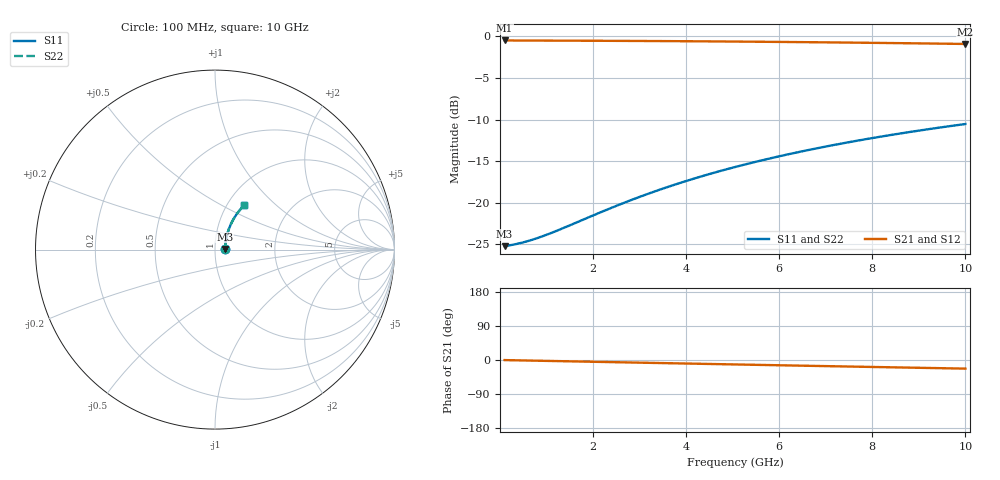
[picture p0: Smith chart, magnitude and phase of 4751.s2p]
# Hz S RI R 50.00
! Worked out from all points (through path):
!   100 points, 100 MHz to 10 GHz, reference 50 ohm
!   highest |S21| = -0.49 dB at 100 MHz (marker M1); lowest = -0.9 dB at 10 GHz (marker M2)
!   group delay of S21, straight-line fit = 6.33 ps
!   lowest |S11| = -25.2 dB at 100 MHz (marker M3), VSWR 1.12, Z = 55.8 + j0.322 ohm
!   |S11| at or under -10 dB: start of sweep to end of sweep
!   |S22| runs from -25.2 to -10.5 dB; largest |S21 - S12| = 0
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1e8  0.0548 0.00287  0.9452 -0.00387  0.9452 -0.00387  0.0548 0.00287
3e8  0.0555 0.00861  0.9445 -0.0116  0.9445 -0.0116  0.0555 0.00861
5e8  0.0561 0.0143  0.9439 -0.0193  0.9439 -0.0193  0.0561 0.0143
8e8  0.0569 0.0229  0.943 -0.0308  0.943 -0.0308  0.0569 0.0229
1e9  0.0575 0.0286  0.9424 -0.0385  0.9424 -0.0385  0.0575 0.0286
1.2e9  0.0582 0.0343  0.9417 -0.0462  0.9417 -0.0462  0.0582 0.0343
1.8e9  0.0608 0.0512  0.939 -0.0691  0.939 -0.0691  0.0608 0.0512
2.2e9  0.0629 0.0624  0.9369 -0.0843  0.9369 -0.0843  0.0629 0.0624
2.6e9  0.0653 0.0735  0.9343 -0.0994  0.9343 -0.0994  0.0653 0.0735
3e9  0.068 0.0845  0.9315 -0.1144  0.9315 -0.1144  0.068 0.0845
3.4e9  0.0711 0.0954  0.9282 -0.1292  0.9282 -0.1292  0.0711 0.0954
3.8e9  0.0746 0.1062  0.9247 -0.144  0.9247 -0.144  0.0746 0.1062
4.2e9  0.0783 0.1168  0.9208 -0.1586  0.9208 -0.1586  0.0783 0.1168
4.6e9  0.0824 0.1273  0.9165 -0.173  0.9165 -0.173  0.0824 0.1273
5.1e9  0.0879 0.1401  0.9107 -0.1909  0.9107 -0.1909  0.0879 0.1401
5.5e9  0.0927 0.1502  0.9058 -0.2049  0.9058 -0.2049  0.0927 0.1502
5.9e9  0.0977 0.1601  0.9005 -0.2188  0.9005 -0.2188  0.0977 0.1601
6.7e9  0.1087 0.1792  0.889 -0.2459  0.889 -0.2459  0.1087 0.1792
7.5e9  0.1207 0.1974  0.8764 -0.2722  0.8764 -0.2722  0.1207 0.1974
8.4e9  0.1354 0.2168  0.8609 -0.3006  0.8609 -0.3006  0.1354 0.2168
9.2e9  0.1494 0.2329  0.8461 -0.3248  0.8461 -0.3248  0.1494 0.2329
1e10  0.1642 0.248  0.8305 -0.348  0.8305 -0.348  0.1642 0.248
